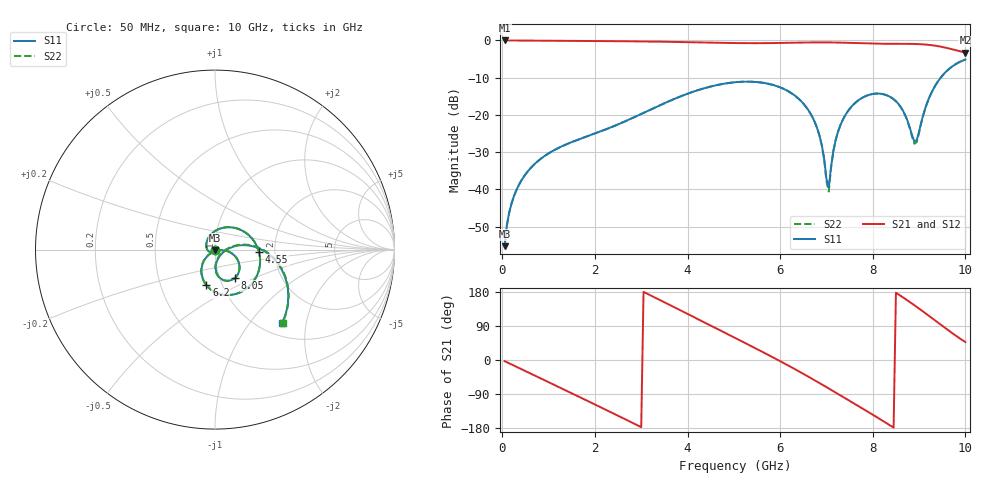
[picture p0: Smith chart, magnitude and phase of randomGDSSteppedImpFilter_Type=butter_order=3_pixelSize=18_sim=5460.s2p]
! freq	dB(S11)	phase(S11)	dB(S12)	phase(S12)
!  dB(S21)	phase(S21)	dB(S22)	phase(S22)
!S-par simulation data
#  GHz  S  DB  R 50
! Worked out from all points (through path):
!   200 points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, 50 MHz to 10 GHz, reference 50 ohm
!   highest |S21| = -0.01 dB at 50 MHz (marker M1); lowest = -3.3 dB at 10 GHz (marker M2)
!   group delay of S21, straight-line fit = 182 ps
!   lowest |S11| = -55.2 dB at 50 MHz (marker M3), VSWR 1.00, Z = 50 - j0.17 ohm
!   |S11| at or under -10 dB: start of sweep to 9.467 GHz
!   |S22| runs from -55.2 to -5.1 dB; largest |S21 - S12| = 0
!   S11 on the Smith chart (normalised r, x): 50 MHz: 1.00, -0.00; 4.55 GHz: 1.65, -0.04; 6.2 GHz: 0.84, -0.35; 8.05 GHz: 1.18, -0.39; 10 GHz: 1.24, -1.46
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0.05  -55.25 -78.6  -0.01 -3.0  -0.01 -3.0  -55.25 -78.6
0.2  -43.78 -96.5  -0.02 -11.8  -0.02 -11.8  -43.78 -96.5
0.5  -35.97 -118.4  -0.04 -29.3  -0.04 -29.3  -35.97 -118.2
1.15  -29.26 -159.3  -0.09 -67.3  -0.09 -67.3  -29.27 -158.8
1.75  -26.12 164.4  -0.13 -102.6  -0.13 -102.6  -26.13 165.2
2.65  -21.73 110.8  -0.22 -156.1  -0.22 -156.1  -21.74 111.5
3.4  -17.43 66.2  -0.33 158.5  -0.33 158.5  -17.43 66.7
4.55  -12.22 -2.8  -0.60 87.8  -0.60 87.8  -12.22 -2.7
5.05  -11.20 -32.9  -0.71 56.9  -0.71 56.9  -11.20 -33.0
5.65  -11.42 -69.4  -0.73 19.4  -0.73 19.4  -11.42 -69.5
6.2  -13.82 -103.5  -0.63 -16.2  -0.63 -16.2  -13.83 -103.8
6.7  -20.66 -133.6  -0.53 -50.3  -0.53 -50.3  -20.67 -134.5
6.9  -28.16 -139.3  -0.52 -64.4  -0.52 -64.4  -28.23 -141.3
7.05  -39.54 -51.8  -0.53 -75.2  -0.53 -75.2  -40.58 -49.1
7.15  -29.59 -6.7  -0.55 -82.4  -0.55 -82.4  -29.68 -4.5
7.35  -21.39 -10.5  -0.60 -96.9  -0.60 -96.9  -21.40 -9.8
8.05  -14.29 -54.6  -0.86 -148.1  -0.86 -148.1  -14.30 -54.7
8.35  -14.99 -73.6  -0.91 -170.7  -0.91 -170.7  -15.00 -74.0
8.65  -18.81 -87.6  -0.91 165.5  -0.91 165.5  -18.86 -88.6
8.9  -27.17 -50.0  -0.95 144.4  -0.95 144.4  -27.72 -50.8
9.35  -12.12 1.3  -1.42 103.7  -1.42 103.7  -12.14 2.2
10  -5.12 -47.6  -3.28 47.3  -3.28 47.3  -5.13 -47.1
